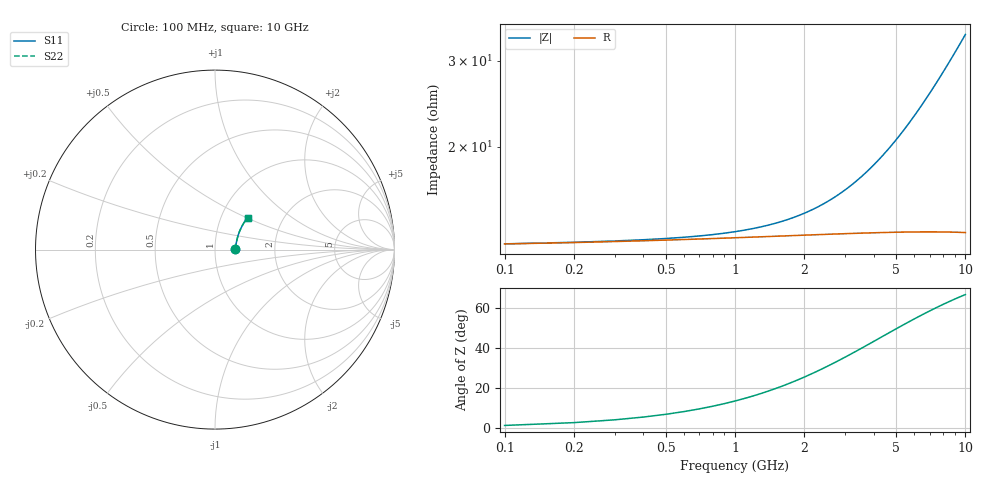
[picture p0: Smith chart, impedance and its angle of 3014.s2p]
# Hz S RI R 50.00
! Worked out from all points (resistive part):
!   100 points, 100 MHz to 10 GHz, reference 50 ohm
!   read as one part in series: R = 12.6 ohm at 100 MHz
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1e8  0.112 0.00199  0.888 -0.00298  0.888 -0.00298  0.112 0.00199
2e8  0.1127 0.00397  0.8873 -0.00595  0.8873 -0.00595  0.1127 0.00397
3e8  0.1132 0.00595  0.8868 -0.00892  0.8868 -0.00892  0.1132 0.00595
8e8  0.115 0.0158  0.8849 -0.0237  0.8849 -0.0237  0.115 0.0158
1.1e9  0.116 0.0217  0.8839 -0.0326  0.8839 -0.0326  0.116 0.0217
1.4e9  0.1169 0.0275  0.883 -0.0414  0.883 -0.0414  0.1169 0.0275
1.8e9  0.1183 0.0353  0.8815 -0.0531  0.8815 -0.0531  0.1183 0.0353
2.1e9  0.1194 0.0411  0.8804 -0.0619  0.8804 -0.0619  0.1194 0.0411
2.5e9  0.1209 0.0488  0.8787 -0.0735  0.8787 -0.0735  0.1209 0.0488
2.9e9  0.1227 0.0565  0.8769 -0.0851  0.8769 -0.0851  0.1227 0.0565
3.4e9  0.1251 0.0659  0.8743 -0.0996  0.8743 -0.0996  0.1251 0.0659
4.3e9  0.13 0.0827  0.869 -0.1253  0.869 -0.1253  0.13 0.0827
5.1e9  0.1352 0.0973  0.8634 -0.1478  0.8634 -0.1478  0.1352 0.0973
6e9  0.1419 0.1134  0.8562 -0.1728  0.8562 -0.1728  0.1419 0.1134
6.7e9  0.1477 0.1255  0.8499 -0.1918  0.8499 -0.1918  0.1477 0.1255
7.2e9  0.1521 0.1339  0.8451 -0.2052  0.8451 -0.2052  0.1521 0.1339
7.6e9  0.1559 0.1405  0.8411 -0.2158  0.8411 -0.2158  0.1559 0.1405
8e9  0.1598 0.1471  0.8369 -0.2263  0.8369 -0.2263  0.1598 0.1471
8.4e9  0.1638 0.1534  0.8325 -0.2367  0.8325 -0.2367  0.1638 0.1534
8.8e9  0.168 0.1597  0.8279 -0.2469  0.8279 -0.2469  0.168 0.1597
9.2e9  0.1724 0.1658  0.8232 -0.257  0.8232 -0.257  0.1724 0.1658
1e10  0.1815 0.1777  0.8133 -0.2769  0.8133 -0.2769  0.1815 0.1777
